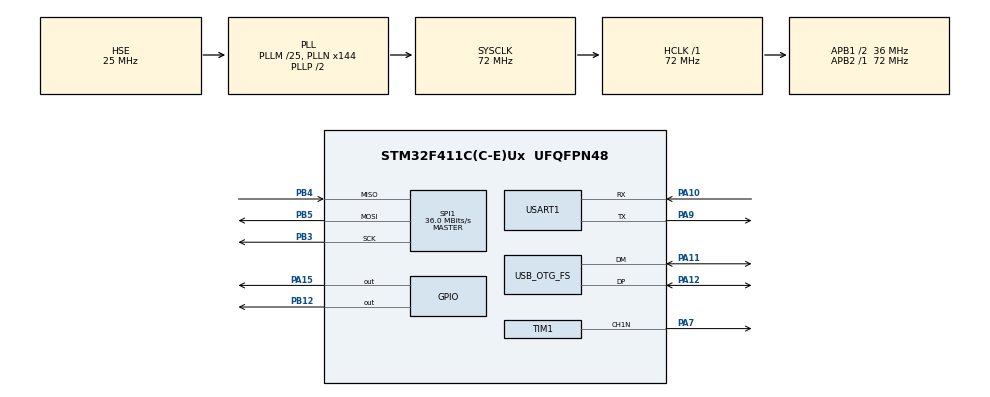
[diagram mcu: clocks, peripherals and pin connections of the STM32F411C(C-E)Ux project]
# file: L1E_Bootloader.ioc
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Dma.Request0=TIM1_CH1
Dma.TIM1_CH1.0.Direction=DMA_PERIPH_TO_MEMORY
Dma.TIM1_CH1.0.FIFOMode=DMA_FIFOMODE_DISABLE
Dma.TIM1_CH1.0.Instance=DMA2_Stream1
Dma.TIM1_CH1.0.MemDataAlignment=DMA_MDATAALIGN_HALFWORD
Dma.TIM1_CH1.0.MemInc=DMA_MINC_ENABLE
Dma.TIM1_CH1.0.Mode=DMA_CIRCULAR
Dma.TIM1_CH1.0.PeriphDataAlignment=DMA_PDATAALIGN_HALFWORD
Dma.TIM1_CH1.0.PeriphInc=DMA_PINC_DISABLE
Dma.TIM1_CH1.0.Priority=DMA_PRIORITY_HIGH
Mcu.Family=STM32F4
Mcu.Name=STM32F411C(C-E)Ux
Mcu.Package=UFQFPN48
NVIC.DMA2_Stream1_IRQn=true\:0\:0\:false\:false\:true\:false\:true\:true
NVIC.OTG_FS_IRQn=true\:0\:0\:false\:false\:true\:false\:true\:true
NVIC.PriorityGroup=NVIC_PRIORITYGROUP_4
NVIC.USART1_IRQn=true\:0\:0\:false\:false\:true\:true\:true\:true
PA10.Mode=Asynchronous
PA10.Signal=USART1_RX
PA11.Mode=Device_Only
PA11.Signal=USB_OTG_FS_DM
PA12.Mode=Device_Only
PA12.Signal=USB_OTG_FS_DP
PA15.Signal=GPIO_Output
PA7.GPIO_Speed=GPIO_SPEED_FREQ_VERY_HIGH
PA7.Mode=PWM Generation1 CH1N
PA7.Signal=TIM1_CH1N
PA9.Mode=Asynchronous
PA9.Signal=USART1_TX
PB12.GPIO_ModeDefaultOutputPP=GPIO_MODE_OUTPUT_OD
PB12.GPIO_PuPd=GPIO_NOPULL
PB12.Signal=GPIO_Output
PB3.Mode=Full_Duplex_Master
PB3.Signal=SPI1_SCK
PB4.Mode=Full_Duplex_Master
PB4.Signal=SPI1_MISO
PB5.Mode=Full_Duplex_Master
PB5.Signal=SPI1_MOSI
PC14-OSC32_IN.Mode=LSE-External-Oscillator
PC14-OSC32_IN.Signal=RCC_OSC32_IN
PC15-OSC32_OUT.Mode=LSE-External-Oscillator
PC15-OSC32_OUT.Signal=RCC_OSC32_OUT
PH0\ -\ OSC_IN.Mode=HSE-External-Oscillator
PH0\ -\ OSC_IN.Signal=RCC_OSC_IN
PH1\ -\ OSC_OUT.Mode=HSE-External-Oscillator
PH1\ -\ OSC_OUT.Signal=RCC_OSC_OUT
ProjectManager.HeapSize=0x200
ProjectManager.StackSize=0x400
ProjectManager.TargetToolchain=STM32CubeIDE
RCC.48MHZClocksFreq_Value=48000000
RCC.AHBFreq_Value=72000000
RCC.APB1CLKDivider=RCC_HCLK_DIV2
RCC.APB1Freq_Value=36000000
RCC.APB1TimFreq_Value=72000000
RCC.APB2Freq_Value=72000000
RCC.APB2TimFreq_Value=72000000
RCC.CortexFreq_Value=72000000
RCC.HCLKFreq_Value=72000000
RCC.HSE_VALUE=25000000
RCC.HSI_VALUE=16000000
RCC.PLLM=25
RCC.PLLN=144
RCC.PLLQ=3
RCC.SYSCLKFreq_VALUE=72000000
RCC.SYSCLKSource=RCC_SYSCLKSOURCE_PLLCLK
RCC.VCOOutputFreq_Value=144000000
SPI1.CalculateBaudRate=36.0 MBits/s
SPI1.Direction=SPI_DIRECTION_2LINES
SPI1.Mode=SPI_MODE_MASTER
SPI1.VirtualType=VM_MASTER
TIM1.Channel-PWM\ Generation1\ CH1N=TIM_CHANNEL_1
TIM1.Period=90-1
TIM1.Prescaler=0
USART1.VirtualMode=VM_ASYNC
USB_DEVICE.CLASS_NAME_FS=CDC
USB_DEVICE.VirtualMode=Cdc
USB_DEVICE.VirtualModeFS=Cdc_FS
USB_OTG_FS.VirtualMode=Device_Only
VP_CRC_VS_CRC.Mode=CRC_Activate
VP_USB_DEVICE_VS_USB_DEVICE_CDC_FS.Mode=CDC_FS
board=custom

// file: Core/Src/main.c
/* USER CODE BEGIN Header */
/**
  ******************************************************************************
  * @file           : main.c
  * @brief          : Main program body
  ******************************************************************************
  * @attention
  *
  * Copyright (c) 2022 STMicroelectronics.
  * All rights reserved.
  *
  * This software is licensed under terms that can be found in the LICENSE file
  * in the root directory of this software component.
  * If no LICENSE file comes with this software, it is provided AS-IS.
  *
  ******************************************************************************
  *
  * Version Header Example (32B)
  * ICTR-L1E-APP-SupV.MajV.MinV-YYWW[P/D/I]
  * ICTR-L1E-REC-MajV.MinV-YYWW[P/D/I]
  *
  *
  *
  */
/* USER CODE END Header */
#include "main.h"
#include "crc.h"
#include "dma.h"
#include "spi.h"
#include "tim.h"
#include "usart.h"
#include "usb_device.h"
#include "gpio.h"

/* USER CODE BEGIN Includes */
#include "w25rxx.h"
#include "gsm.h"
#include <stdio.h>
#include <string.h>
#include "../Config.h"
#include "../ws2812b/ws2812b.h"
/* USER CODE END Includes */

/* USER CODE BEGIN PTD */
typedef  void (*pFunction)(void);
typedef enum
{
  FACTORY_RESET_FLAG = 0,
  ACTIVATION_STATUS_FLAG,
  CERTS_UPDATE_FLAG,
  OTA_FLAG,
  RECOVERY_FLAG,
} flag_t;
typedef enum
{
  BOOTLOADER = 0,
  RECOVERY,
  APPLICATION,
} fw_type_t;
typedef enum
{
  VERSION = 0,
  SN = 32,
  IMEI = 64,
  HNAME = 96,
  MUID = 128,
  PMdl = 160,
  DMdl = 192,
  UDID = 224,
  DCfg = 256,
} udcfg_addr_t;
/*typedef enum
{
  FACTORY_RESET_EVENT = 0,
  OTA_UPD_SUC_EVENT = 1,
} event_t;*/
/* USER CODE END PTD */

/* USER CODE BEGIN PD */
#define APP_START_ADDR 0x08010000UL
#define MAGIC "ITCR-ODIN-L1E-OTA-d41d8cd98f00b204e9800998ecf842"
#define BLR_VERSION "1.0-2234D"
#define BLR_VERSION_HEADER "ICTR-L1E-BLR-" + BLR_VERSION

#define MQTT_SERVER "mqtt.iotcreative.ru"
#define MQTT_USER "dave"
#define MQTT_PSWD "lemontree"

/* NVM ADDRESSES*/

#define RECOVERY_VER_HEAD_ADDR 0x000000UL
#define RECOVERY_LEN_ADDR 0x000020UL
#define RECOVERY_CRC_ADDR 0x000024UL

#define RECOVERY_ADDR 0x000028UL
#define FLAGS_ADDR 0x070000UL
#define LOGS_ADDR 0x060000UL

/* BOOT_INFO */

#define BOOT_SEC_ADDR 0x071000UL
#define APP_VER_HEAD_ADDR 0x071000UL
#define APP_LEN_ADDR 0x071020UL
#define APP_CRC_ADDR 0x071024UL
#define MAGIC_ADDR 0x071028UL

/* USER_INFO */

#define USER_INFO_START_ADDR 0x073000UL
#define USER_INFO_END_ADDR 0x079000UL

#define ROOT_CERT_ADDR 0x07B000UL
#define CLIENT_CERT_ADDR 0x07D000UL

/* UPDATE PARTITION */

#define UPD_PARTITION_ADDR 0x080000UL
#define UPD_VER_HEAD_ADDR 0x080000UL
#define UPD_LEN_ADDR 0x080020UL
#define UPD_CRC_ADDR 0x080024UL
#define UPD_START_ADDR 0x080028UL

/*EVENT MESSAGES*/

#define FACTORY_RESET_EVENT "Factory reset"
#define OTA_UPDATE_EVENT "Updated to version: "
#define RECOVERY_EVENT "Flashed to recovery"
#define RECOVERY_SUCCESSFUL_EVENT "Recovered to version: "
#define SOS_EVENT "SOS"
#define MEMORY_ERROR_EVENT "Memory error: "
#define MODEM_ERROR_EVENT "Modem error: "
#define WRONG_CRC_EVENT "Wrong app checksum"
#define HAL_ERROR_EVENT "HAL Error: "
#define ODIN_ERROR_EVENT "ODIN Error: "

#define BOOTLOADER_DEBUG

/* USER CODE END PD */

/* USER CODE BEGIN PV */
struct UDCfg
{
  char Version [32];
  char SN [32];
  char IMEI [32];
  char UCID [32];
  char HName [32];
  char MUID [32];
  char PMdl [32];
  char DMdl [32];
  char UDID [32];
  char DCfg [32];
};
struct UDCfg dev_cfg;
/* USER CODE END PV */

void SystemClock_Config(void);
/* USER CODE BEGIN PFP */
bool ODIN_Diags(void);
bool CheckForMW(void);
bool isAppPresent(void);
void ODIN_OTA(void);
void Flash_Verify(uint32_t nvm_addr, uint32_t nvm_len_addr);
void ODIN_Recovery(void);
void ODIN_SOS(void);
void ODIN_Err(uint8_t err_num);
void WriteBootSection(uint32_t ver_head_addr, uint32_t len_addr, uint32_t crc_addr);
void GotoApp(void);
void WriteLog(char* event);
void ReadLog(void);
bool getFlag(flag_t flag);
void setFlag(flag_t flag, bool value);
void FactoryReset(void);
bool CertsUpdate(void);
void ReadUDCfg(void);
void PrintLog(void);
/* USER CODE END PFP */

int main(void)
{

  /* MCU Configuration--------------------------------------------------------*/

  /* Reset of all peripherals, Initializes the Flash interface and the Systick. */
  HAL_Init();

  /* Configure the system clock */
  SystemClock_Config();

  /* Initialize all configured peripherals */
  MX_GPIO_Init();
  MX_SPI1_Init();
  MX_USART1_UART_Init();
  MX_DMA_Init();
  MX_USB_DEVICE_Init();
  MX_TIM1_Init();
  MX_CRC_Init();
  /* USER CODE BEGIN 2 */
  HAL_Delay(1000);
  printf("Lampan Bootloader, version %s\n", BLR_VERSION);
  //ws2812b_init();
  if(!ODIN_Diags())
  {
    ODIN_Err(1);
  }
  if(getFlag(FACTORY_RESET_FLAG))
  {
    #ifdef BOOTLOADER_DEBUG
	    printf("Factory reset flag found\n");
    #endif
    FactoryReset();
  }
  if(getFlag(CERTS_UPDATE_FLAG))
  {
    #ifdef BOOTLOADER_DEBUG
	    printf("Certificate update flag found\n");
    #endif
    CertsUpdate();
  }
  if(getFlag(OTA_FLAG))
  {
    #ifdef BOOTLOADER_DEBUG
	    printf("OTA Flag found. Check for MW\n");
    #endif
    if(CheckForMW())
    {
	    ODIN_OTA();
    }
  }
  if(isAppPresent())
  {
    #ifdef BOOTLOADER_DEBUG
	    printf("Application is intact. Proceed to app...\n");
    #endif
    GotoApp();
  }
  else
  {
    #ifdef BOOTLOADER_DEBUG
	    printf("Application has been corrupted. Proceed to recovery...\n");
    #endif
	  ODIN_Recovery();
  }
  ODIN_SOS();
  /* USER CODE END 2 */

  /* Infinite loop */
  /* USER CODE BEGIN WHILE */
  while (1)
  {
    #ifdef BOOTLOADER_DEBUG
	    printf("Device is bricked. Proceed to shell...\n");
      printf("->");
    #endif
    /* USER CODE END WHILE */

  }
}

void SystemClock_Config(void)
{
  RCC_OscInitTypeDef RCC_OscInitStruct = {0};
  RCC_ClkInitTypeDef RCC_ClkInitStruct = {0};

  /** Configure the main internal regulator output voltage
  */
  __HAL_RCC_PWR_CLK_ENABLE();
  __HAL_PWR_VOLTAGESCALING_CONFIG(PWR_REGULATOR_VOLTAGE_SCALE1);

  /** Initializes the RCC Oscillators according to the specified parameters
  * in the RCC_OscInitTypeDef structure.
  */
  RCC_OscInitStruct.OscillatorType = RCC_OSCILLATORTYPE_HSE;
  RCC_OscInitStruct.HSEState = RCC_HSE_ON;
  RCC_OscInitStruct.PLL.PLLState = RCC_PLL_ON;
  RCC_OscInitStruct.PLL.PLLSource = RCC_PLLSOURCE_HSE;
  RCC_OscInitStruct.PLL.PLLM = 25;
  RCC_OscInitStruct.PLL.PLLN = 144;
  RCC_OscInitStruct.PLL.PLLP = RCC_PLLP_DIV2;
  RCC_OscInitStruct.PLL.PLLQ = 3;
  if (HAL_RCC_OscConfig(&RCC_OscInitStruct) != HAL_OK)
  {
    Error_Handler();
  }

  /** Initializes the CPU, AHB and APB buses clocks
  */
  RCC_ClkInitStruct.ClockType = RCC_CLOCKTYPE_HCLK|RCC_CLOCKTYPE_SYSCLK
                              |RCC_CLOCKTYPE_PCLK1|RCC_CLOCKTYPE_PCLK2;
  RCC_ClkInitStruct.SYSCLKSource = RCC_SYSCLKSOURCE_PLLCLK;
  RCC_ClkInitStruct.AHBCLKDivider = RCC_SYSCLK_DIV1;
  RCC_ClkInitStruct.APB1CLKDivider = RCC_HCLK_DIV2;
  RCC_ClkInitStruct.APB2CLKDivider = RCC_HCLK_DIV1;

  if (HAL_RCC_ClockConfig(&RCC_ClkInitStruct, FLASH_LATENCY_2) != HAL_OK)
  {
    Error_Handler();
  }
}

/* USER CODE BEGIN 4 */
int _write(int file, char *ptr, int len) {
    CDC_Transmit_FS((uint8_t*) ptr, len); return len;
}
/**
 * @brief ODIN_Diags() - POST function
 *
 * @return true
 * @return false
 */
bool ODIN_Diags()
{
#ifdef BOOTLOADER_DEBUG
	printf("Start POST. Memory?\n");
#endif
	//POST - Memory and Modem
	if(!W25RXX_Init())
	{
    #ifdef BOOTLOADER_DEBUG
	    printf("Error during memory initialization.");
    #endif
    char* event_error = calloc(128, sizeof(char));
    strcat(event_error, MEMORY_ERROR_EVENT);
    strcat(event_error, "Initialization");
    WriteLog(event_error);
    free(event_error);
    //return false;
	}
  #ifdef BOOTLOADER_DEBUG
	  printf("Memory passed. Modem?\n");
  #endif
	if(!gsm_init())
	{
    #ifdef BOOTLOADER_DEBUG
	    printf("Error during modem initialization.");
    #endif
    char* event_error = calloc(128, sizeof(char));
    strcat(event_error, MODEM_ERROR_EVENT);
    strcat(event_error, "Initialization");
    WriteLog(event_error);
    free(event_error);
    return false;
	}
  if(!gsm_gprs_ntpServer("time.google.com", 6))
  {
    #ifdef BOOTLOADER_DEBUG
	    printf("No connection to NTP.");
    #endif
  }
  if(!gsm_gprs_ntpSyncTime())
  {
    #ifdef BOOTLOADER_DEBUG
	    printf("Time not synchronized.");
    #endif
  }
  #ifdef BOOTLOADER_DEBUG
	  printf("Modem passed. Exit DIAGS...\n");
  #endif
  return true;
}
/**
 * @brief Checking CRC from FLASH and CRC of image from NVM
 *
 * @return true
 * @return false
 */
bool isAppPresent(void)
{
  #ifdef BOOTLOADER_DEBUG
	  printf("Application integrity check\n");
  #endif
  uint32_t file_len;
  uint32_t image_crc;
  W25RXX_ReadBytes(file_len, APP_LEN_ADDR, 4);
  W25RXX_ReadBytes(image_crc, APP_CRC_ADDR, 4);
  #ifdef BOOTLOADER_DEBUG
	  printf("Original checksum: %x\n", image_crc);
  #endif
  uint32_t calc_crc = HAL_CRC_Calculate(&hcrc, (uint32_t*) APP_START_ADDR, file_len/4); //file_len/4 because HAL_CRC_Calculate requires number of UINT32_T words
  #ifdef BOOTLOADER_DEBUG
	  printf("Calculated checksum: %x\n", calc_crc);
  #endif
  if (calc_crc == image_crc)
  {
    #ifdef BOOTLOADER_DEBUG
	    printf("Checksum is correct. Proceed...");
    #endif
    return true;
  }
	else
  {
    #ifdef BOOTLOADER_DEBUG
	    printf("Checksum is NOT correct. Proceed...");
    #endif
    WriteLog(WRONG_CRC_EVENT);
    return false;
  }
}
/**
 * @brief Check NVM for magic word
 *
 * @return true MW Found in NVM
 * @return false MW NOT found in NVM
 */
bool CheckForMW(void)
{
  #ifdef BOOTLOADER_DEBUG
	  printf("Checking NVM for Magic Word\n");
  #endif
  char MW_Check [49];
  W25RXX_ReadBytes(MW_Check, MAGIC_ADDR, 50);
  if (MW_Check == MAGIC)
  {
    #ifdef BOOTLOADER_DEBUG
	    printf("MW Found!\n");
    #endif
    return true;
  }
	else
  {
    #ifdef BOOTLOADER_DEBUG
	    printf("MW NOT found.\n");
    #endif
    return false;
  }
}
/**
 * @brief ODIN Error Handler
 *
 * @param err_num Error Number - Refer to Errors Documentation
 */
void ODIN_Err(uint8_t err_num)
{
  char* event = calloc(128, sizeof(char));
  strcat(event, ODIN_ERROR_EVENT);
  strcat(event, (char)err_num);
  WriteLog(event);
  free(event);
  //Matrix code
  int i = 0;
	while(i < 4)
  {
    i++;

  }
    #ifdef BOOTLOADER_DEBUG
      return;
    #endif
  NVIC_SystemReset();
}
/**
 * @brief Flashing RecoveryFW
 *
 */
void ODIN_Recovery(void)
{
    #ifdef BOOTLOADER_DEBUG
	    printf("Device is in recovery mode. Flash recovery FW...\n");
    #endif
    uint32_t len;
    W25RXX_ReadBytes(len, RECOVERY_LEN_ADDR, 4);
    if (len == 0)
    {
      #ifdef BOOTLOADER_DEBUG
	      printf("RecFW length is zero. RecFW info has been lost. Further flashing is not possible\n");
      #endif
      return;
    }
    Flash_Verify(RECOVERY_ADDR, RECOVERY_LEN_ADDR);
    #ifdef BOOTLOADER_DEBUG
	    printf("Recovery FW flashed. Copying App Information to Boot Section...\n");
    #endif
    WriteBootSection(RECOVERY_VER_HEAD_ADDR, RECOVERY_LEN_ADDR, RECOVERY_CRC_ADDR);
    #ifdef BOOTLOADER_DEBUG
	    printf("Setting RECOVERY_FLAG...\n");
    #endif
    setFlag(RECOVERY_FLAG, true);
    #ifdef BOOTLOADER_DEBUG
	    printf("Writing recovery event log...\n");
    #endif
    WriteLog(RECOVERY_EVENT);

    #ifdef BOOTLOADER_DEBUG
	    printf("Rebooting...\n");
    #endif
    NVIC_SystemReset();
}
/**
 * @brief Firmware Update Over-The-Air (OTA) Handler
 *
 */
void ODIN_OTA(void)
{
    #ifdef BOOTLOADER_DEBUG
	    printf("Starting OTA...\n");
    #endif
    char VerHeader [32];
    W25RXX_ReadBytes(VerHeader, UPD_VER_HEAD_ADDR, 32);
    strcat(VerHeader, '\0');
    #ifdef BOOTLOADER_DEBUG
	    printf("Flashing FW: %s\n", VerHeader);
    #endif
    Flash_Verify(UPD_START_ADDR, UPD_LEN_ADDR);
    #ifdef BOOTLOADER_DEBUG
	    printf("Flash&Verify complete. Write info to Boot Section\n");
    #endif
    WriteBootSection(UPD_VER_HEAD_ADDR, UPD_LEN_ADDR, UPD_CRC_ADDR);
    #ifdef BOOTLOADER_DEBUG
	    printf("Erasing update binary...\n");
    #endif

    uint32_t end_addr = W25RXX.CapacityInKiloByte * 1024;
    for(uint32_t idx = UPD_PARTITION_ADDR; idx <= end_addr; idx += 65536) //UPD_PARTITION_ADDR = UPD_VER_HEAD_ADDR
    {
        W25RXX_EraseBlock(idx);
    }
    #ifdef BOOTLOADER_DEBUG
	    printf("Writing log...\n");
    #endif
    if (getFlag(RECOVERY_FLAG))
    {
      setFlag(RECOVERY_FLAG, false);
      char* event = calloc(512, sizeof(char));
      strcpy(event, RECOVERY_SUCCESSFUL_EVENT);
      strcat(event, VerHeader);
      WriteLog(event);
      free(event);
    }
    else
    {
      char* event = calloc(512, sizeof(char));
      strcpy(event, OTA_UPDATE_EVENT);
      strcat(event, VerHeader);
      WriteLog(event);
    }
    #ifdef BOOTLOADER_DEBUG
	    printf("Reseting OTA_FLAG...\n");
    #endif
    setFlag(OTA_FLAG, false);
    #ifdef BOOTLOADER_DEBUG
	    printf("OTA Complete. Restart...\n");
    #endif
    NVIC_SystemReset();
}
/**
 * @brief Flash binary from NVM to FLASH MCU memory and verify correct flashing
 *
 * @param nvm_addr Starting binary address in NVM
 * @param nvm_len_addr Binary length
 */
void Flash_Verify(uint32_t nvm_addr, uint32_t nvm_len_addr)
{
    #ifdef BOOTLOADER_DEBUG
	    printf("Flashing in progress:\n");
    #endif
    uint32_t file_len;
    W25RXX_ReadBytes(file_len, nvm_len_addr, 4); //Get update file size
    uint32_t NVM_Addr = nvm_addr; //Set variable to update file start address
    HAL_FLASH_Unlock();
    /* Erasing application FLASH sectors */
    #ifdef BOOTLOADER_DEBUG
	    printf("Erasing: 0%%");
    #endif
    FLASH_Erase_Sector(FLASH_SECTOR_4, FLASH_VOLTAGE_RANGE_3);
    #ifdef BOOTLOADER_DEBUG
	    printf("\b\b25%%");
    #endif
    FLASH_Erase_Sector(FLASH_SECTOR_5, FLASH_VOLTAGE_RANGE_3);
    #ifdef BOOTLOADER_DEBUG
	    printf("\b\b\b50%%");
    #endif
    FLASH_Erase_Sector(FLASH_SECTOR_6, FLASH_VOLTAGE_RANGE_3);
    #ifdef BOOTLOADER_DEBUG
	    printf("\b\b\b75%%");
    #endif
    FLASH_Erase_Sector(FLASH_SECTOR_7, FLASH_VOLTAGE_RANGE_3);
    #ifdef BOOTLOADER_DEBUG
	    printf("\b\b\b100%%\n");
      printf("Flashing:    ");
    #endif

    for(uint32_t idx = APP_START_ADDR; idx <= APP_START_ADDR+file_len; idx += 8)
    {
      uint64_t buf;
      W25RXX_ReadBytes(buf, NVM_Addr, 8); //Read 8 bytes from NVM
      if (HAL_FLASH_Program(FLASH_TYPEPROGRAM_DOUBLEWORD, idx, buf) == HAL_OK) //Program 8 bytes of flash
      {
        #ifdef BOOTLOADER_DEBUG
          uint8_t CurrPercent = 100-((((APP_START_ADDR+file_len)-idx)*100)/file_len);
          printf("\b\b\b%d%%", CurrPercent);
        #endif
        NVM_Addr += 8;
      }
      else
      {
        char* error = calloc(128, sizeof(char));
        strcat(error, HAL_FLASH_GetError);
        WriteLog(error);
        Error_Handler(); //If HAL_!OK goto error handler
      }
    }
    #ifdef BOOTLOADER_DEBUG
	    printf("\nFlash is complete.\n");
      printf("Verifying:    ");
    #endif
    HAL_FLASH_Lock();
    for(uint32_t idx = APP_START_ADDR; idx <= APP_START_ADDR+file_len; idx += 4)
    {
      uint32_t buf;
      W25RXX_ReadBytes(buf, NVM_Addr, 4); //Read 8 bytes from NVM
      uint32_t result = *(__IO uint32_t *)idx;
      if (result == buf) //Check
      {
        #ifdef BOOTLOADER_DEBUG
          uint8_t CurrPercent = 1-((((APP_START_ADDR+file_len)-idx)*100)/file_len);
          printf("\b\b\b%d%%", CurrPercent);
        #endif
        NVM_Addr += 4;
      }
      else
      {
        ODIN_Err(6); //If flash was incorrect - goto err_handler
      }
    }
    #ifdef BOOTLOADER_DEBUG
	    printf("\nVerify complete.\n");
    #endif
}
void ODIN_SOS(void)
{
    WriteLog(SOS_EVENT);
    #ifdef BOOTLOADER_DEBUG
	    printf("Device in SOS mode. Further recovery is not longer possible. Device is bricked. Refer to documentation\n");
    #endif
    gsm_gprs_mqttConnect(MQTT_SERVER, 1884, false, dev_cfg.SN, 60, MQTT_USER, MQTT_PSWD, 60);
    char* message = calloc(256, sizeof(char));
    strcat(message, "{\"SN\":\"");
    strcat(message, dev_cfg.SN);
    strcat(message, "\"}");
    gsm_gprs_mqttPublish("$device/SOS", true, false, message);
    free(message);
    gsm_gprs_mqttDisConnect();
    #ifndef BOOTLOADER_DEBUG
      while(1)
      {
        printf("Device in SOS mode. Further recovery is not longer possible. Device is bricked. Refer to documentation\n");
        HAL_Delay(10000);
      }
    #endif

    #ifdef BOOTLOADER_DEBUG
	    return;
    #endif
    //SOS Message. Device connects to MQTT Server and send to topic $device/sos a SOS message.
}
void GotoApp(void)
{
  uint32_t jumpAddress = *(__IO uint32_t*) (APP_START_ADDR + 4);
  pFunction Jump_To_Application = (pFunction) jumpAddress;

  //Maybe change all that huynya to HAL_DeInit()?
  HAL_DeInit();
  //MX_RCC_DeInit();
  //MX_SPI1_DeInit();
  //MX_FLASH_DeInit();
  //HAL_I2C_DeInit();
  //MX_IRQ_DeInit();
  //MX_GPIO_DeInit();

  __disable_irq();
  __set_MSP(*(__IO uint32_t*) APP_START_ADDR);
  __enable_irq();

  SCB -> ICSR = 0x00000000;   // reset value;
  SCB -> SCR = 0;
  SCB -> CCR = 0x00000200;    // reset value
  SCB -> SHP[0] = 0;
  SCB -> SHCSR = 0;
  SCB -> CFSR = (SCB_CFSR_DIVBYZERO_Msk | SCB_CFSR_UNALIGNED_Msk | SCB_CFSR_UNDEFINSTR_Msk | SCB_CFSR_NOCP_Msk | SCB_CFSR_INVPC_Msk | SCB_CFSR_INVSTATE_Msk);
  SCB -> HFSR = (SCB_HFSR_DEBUGEVT_Msk | SCB_HFSR_FORCED_Msk | SCB_HFSR_VECTTBL_Msk);
  SCB -> VTOR = APP_START_ADDR;

  SysTick -> CTRL = 0;
  SysTick -> LOAD = 0;
  SysTick -> VAL  = 0;

  Jump_To_Application();
}
void WriteBootSection(uint32_t ver_head_addr, uint32_t len_addr, uint32_t crc_addr)
{
    #ifdef BOOTLOADER_DEBUG
	    printf("Copying information to boot section...\n");
      printf("Erasing boot section...\n");
    #endif
    W25RXX_EraseSector(BOOT_SEC_ADDR); //Erasing BOOT_INFO Sector
    #ifdef BOOTLOADER_DEBUG
	    printf("Copying version header...\n");
    #endif
    char app_ver_head [31];
    W25RXX_ReadBytes(app_ver_head, ver_head_addr, 32);
    W25RXX_WriteSector(app_ver_head,APP_VER_HEAD_ADDR,0,32);
    #ifdef BOOTLOADER_DEBUG
      printf("Copying application length...\n");
    #endif
    uint32_t app_len;
    W25RXX_ReadBytes(app_len, len_addr, 4);
    W25RXX_WriteSector(app_len,APP_LEN_ADDR,0,4);
    #ifdef BOOTLOADER_DEBUG
      printf("Copying checksum...\n");
    #endif
    uint32_t app_crc;
    W25RXX_ReadBytes(app_crc, crc_addr, 4);
    W25RXX_WriteSector(app_crc,APP_CRC_ADDR,0,4);
    #ifdef BOOTLOADER_DEBUG
      printf("Copying to boot section is complete.\n");
    #endif
}
bool getFlag(flag_t flag)
{
  uint8_t flag_stat;
  W25RXX_ReadByte(flag_stat, FLAGS_ADDR + flag);
  return (bool)flag_stat;
}
/**
 * @brief Creating log entry with particular event and write it to NVM.
 *
 * @param event Body of the log
 */
void WriteLog(char* event)
{
  #ifdef BOOTLOADER_DEBUG
    printf("WriteLog() callled\n");
  #endif
  char* log_string = calloc(512, sizeof(char));
  char* timestamp = calloc(512, sizeof(char));
  gsm_gprs_ntpGetTime(timestamp);
  strcat(log_string, timestamp);
  free(timestamp);
  strcat(log_string, "-BLR-");
  strcat(log_string, BLR_VERSION);
  strcat(log_string, ":");
  strcat(log_string, "\"");
  strcat(log_string, event);
  strcat(log_string, "\"\n\0");
  uint32_t last_addr;
  //#ifdef BOOTLOADER_DEBUG
    printf("LOG: %s\n", log_string);
  //#endif
  W25RXX_ReadBytes(last_addr, LOGS_ADDR, 4);
  #ifdef BOOTLOADER_DEBUG
    printf("Last log at address %x\n", last_addr);
  #endif
  uint32_t len = strlen(log_string);
  uint16_t i = 0;
  for(uint32_t idx = last_addr; idx <= idx + len; idx++)
  {
    W25RXX_WriteByte(log_string[i], idx);
    i++;
  }
  uint32_t new_addr = last_addr + len + 1;
  uint8_t buf_addr [3];
  buf_addr[3] = (uint8_t)new_addr;
  buf_addr[2] = (uint8_t)(new_addr>>8);
  buf_addr[1] = (uint8_t)(new_addr>>16);
  buf_addr[0] = (uint8_t)(new_addr>>24);
  uint16_t k = 0;
  for(uint32_t idx = LOGS_ADDR; idx <= idx + 4; idx++)
  {
    W25RXX_WriteByte(buf_addr[i], idx);
    k++;
  }
  #ifdef BOOTLOADER_DEBUG
    printf("New last log address at %x\n", new_addr);
  #endif
  free(log_string);
}
/**
 * @brief Function, which get certificates from NVM addresses in #define, write them to modem FS and install them.
 *
 * @return true - successful certs install
 * @return false - unsuccessful certs install (catching only modem FS and cert-install errors)
 */
bool CertsUpdate(void)
{
  #ifdef BOOTLOADER_DEBUG
    printf("Starting certificates update. Allocating memory for buffer...\n");
  #endif
  char* cert = calloc(2048, sizeof(char));
  #ifdef BOOTLOADER_DEBUG
    printf("Memory allocation successful. Reading root certificate:\n");
  #endif
  uint32_t idx = ROOT_CERT_ADDR;
  bool file_read = false;
  while(!file_read)
  {
    char buf;
    W25RXX_ReadByte(buf, idx);
    if(buf == '\0')
    {
      file_read = true;
      break;
    }
    #ifdef BOOTLOADER_DEBUG
      printf(buf);
    #endif
    strcat(cert, buf);
    idx++;
  }
  #ifdef BOOTLOADER_DEBUG
    printf("Root certificate has been read. Creating certificate file in modem FS...\n");
  #endif
  if(!gsm_fs_create("root_cert.crt"))
  {
    #ifdef BOOTLOADER_DEBUG
      printf("File creation was failed. Exit certificate update...\n");
    #endif
    return false;
  }
  #ifdef BOOTLOADER_DEBUG
    printf("Certificate file was successfully created. Writing certificate file in modem FS...\n");
  #endif
  if(!gsm_fs_write("root_cert.crt", false, cert))
  {
    #ifdef BOOTLOADER_DEBUG
      printf("File writing was failed. Exit certificate update...\n");
    #endif
    return false;
  }
  #ifdef BOOTLOADER_DEBUG
    printf("Certificate file was successfully written. Erasing buffer and reading client certificate:\n");
  #endif
  memset(cert, '\0', 2048);
  idx = CLIENT_CERT_ADDR;
  file_read = false;
  while(!file_read)
  {
    char buf;
    W25RXX_ReadByte(buf, idx);
    if(buf == '\0')
    {
      file_read = true;
      break;
    }
    #ifdef BOOTLOADER_DEBUG
      printf(buf);
    #endif
    strcat(cert, buf);
    idx++;
  }
  #ifdef BOOTLOADER_DEBUG
    printf("Client certificate has been read. Creating certificate file in modem FS...\n");
  #endif
  if(!gsm_fs_create("client_cert.crt"))
  {
    #ifdef BOOTLOADER_DEBUG
      printf("File creation was failed. Exit certificate update...\n");
    #endif
    return false;
  }
  #ifdef BOOTLOADER_DEBUG
    printf("Certificate file was successfully created. Writing certificate file in modem FS...\n");
  #endif
  if(!gsm_fs_write("client_cert.crt", false, cert))
  {
    #ifdef BOOTLOADER_DEBUG
      printf("File writing was failed. Exit certificate update...\n");
    #endif
    return false;
  }
  free(cert);
  #ifdef BOOTLOADER_DEBUG
    printf("Certificate file was successfully written. Installing certificates to modem...\n");
  #endif
  if(!gsm_gprs_certs("root_cert.crt", "client_cert.crt"))
  {
    #ifdef BOOTLOADER_DEBUG
      printf("Certificates install was failed. Exit certificate update...\n");
    #endif
    return false;
  }
  #ifdef BOOTLOADER_DEBUG
    printf("Certificates was successfully installed. Erasing certs in NVM...\n");
  #endif
  W25RXX_EraseSector(ROOT_CERT_ADDR);
  W25RXX_EraseSector(ROOT_CERT_ADDR + 4096);
  W25RXX_EraseSector(CLIENT_CERT_ADDR);
  W25RXX_EraseSector(CLIENT_CERT_ADDR + 4096);
  #ifdef BOOTLOADER_DEBUG
    printf("Resetting CERTS_UPDATE_FLAG...\n");
  #endif
  setFlag(CERTS_UPDATE_FLAG, false);
  #ifdef BOOTLOADER_DEBUG
    printf("Certificates update was successful.\n");
  #endif
  return true;
}
/**
 * @brief Perform factory by erasing sectors and reset FACTORY_RESET_FLAG
 *
 * @retval None
 */
void FactoryReset(void)
{
  #ifdef BOOTLOADER_DEBUG
    printf("Start factory reset...\n");
  #endif
  for(uint32_t idx = USER_INFO_START_ADDR; idx <= USER_INFO_END_ADDR; idx += 4096)
  {
    W25RXX_EraseSector(idx);
  }
  #ifdef BOOTLOADER_DEBUG
    printf("Writing log...\n");
  #endif
  WriteLog(FACTORY_RESET_EVENT);
  #ifdef BOOTLOADER_DEBUG
    printf("Resetting FACTORY_RESET_FLAG...\n");
  #endif
  setFlag(FACTORY_RESET_FLAG, false);
  #ifdef BOOTLOADER_DEBUG
    printf("Factory reset done.\n");
  #endif
}
/**
 * @brief Print log from NVM
 *
 */
void PrintLog(void)
{
  #ifdef BOOTLOADER_DEBUG
    printf("Starting printing log...\n");
  #endif
  uint32_t last_addr;
  W25RXX_ReadBytes(last_addr, last_addr, 4);
  #ifdef BOOTLOADER_DEBUG
    printf("Log end adress: %x\n", last_addr);
  #endif
  for(uint32_t idx = LOGS_ADDR + 4; idx <= last_addr; idx += 1)
  {
    char buf;
    W25RXX_ReadByte(buf, idx);
    printf(buf);
  }
}
/**
 * @brief Set flag in NVM. Refer to flags decription.
 *
 * @param flag Flag name
 * @param value
 */
void setFlag(flag_t flag, bool value)
{
  #ifdef BOOTLOADER_DEBUG
    printf("Setting flag at address %x...", FLAGS_ADDR + flag);
  #endif
  W25RXX_WriteSector((uint8_t)value, FLAGS_ADDR + flag, 0, 1);
  #ifdef BOOTLOADER_DEBUG
    printf("Set value %d", value);
  #endif
}
/**
 * @brief Reading UDCfg from OTP Memory (incl. UCID)
 *
 * @retval None
 */
void ReadUDCfg(void)
{
  #ifdef BOOTLOADER_DEBUG
    printf("Reading UDCfg...");
  #endif
  for(uint32_t idx = FLASH_OTP_BASE; idx < FLASH_OTP_BASE + VERSION; idx += 4)
  {
    uint8_t buf = *(__IO uint8_t *)idx;
    strcat(dev_cfg.Version, (char*)buf);
  }
  strcat(dev_cfg.Version, '\0');
  #ifdef BOOTLOADER_DEBUG
    printf("UDCfg version %s...", dev_cfg.Version);
  #endif
  for(uint32_t idx = FLASH_OTP_BASE + VERSION; idx < FLASH_OTP_BASE + SN; idx += 4)
  {
    uint8_t buf = *(__IO uint8_t *)idx;
    strcat(dev_cfg.SN, (char*)buf);
  }
  strcat(dev_cfg.SN, '\0');
  #ifdef BOOTLOADER_DEBUG
    printf("Serial Number is %s...", dev_cfg.SN);
  #endif
  for(uint32_t idx = FLASH_OTP_BASE + SN; idx < FLASH_OTP_BASE + IMEI; idx += 4)
  {
    uint8_t buf = *(__IO uint8_t *)idx;
    strcat(dev_cfg.IMEI, (char*)buf);
  }
  strcat(dev_cfg.IMEI, '\0');
  #ifdef BOOTLOADER_DEBUG
    printf("IMEI is %s...", dev_cfg.IMEI);
  #endif
  for(uint32_t idx = UID_BASE; idx < UID_BASE + 12; idx+=4)
  {
    uint32_t buf;
    buf = *(__IO uint32_t *)idx;
    strcat(dev_cfg.UCID, buf);
  }
  #ifdef BOOTLOADER_DEBUG
    printf("UCID is %s...", dev_cfg.UCID);
  #endif
  for(uint32_t idx = FLASH_OTP_BASE + IMEI; idx < FLASH_OTP_BASE + HNAME; idx += 4)
  {
    uint8_t buf = *(__IO uint8_t *)idx;
    strcat(dev_cfg.HName, (char*)buf);
  }
  strcat(dev_cfg.HName, '\0');
  #ifdef BOOTLOADER_DEBUG
    printf("Hname is %s...", dev_cfg.HName);
  #endif
  for(uint32_t idx = FLASH_OTP_BASE + HNAME; idx < FLASH_OTP_BASE + MUID; idx += 4)
  {
    uint8_t buf = *(__IO uint8_t *)idx;
    strcat(dev_cfg.MUID, (char*)buf);
  }
  strcat(dev_cfg.MUID, '\0');
  #ifdef BOOTLOADER_DEBUG
    printf("MUID is %s...", dev_cfg.MUID);
  #endif
  for(uint32_t idx = FLASH_OTP_BASE + MUID; idx < FLASH_OTP_BASE + PMdl; idx += 4)
  {
    uint8_t buf = *(__IO uint8_t *)idx;
    strcat(dev_cfg.PMdl, (char*)buf);
  }
  strcat(dev_cfg.MUID, '\0');
  #ifdef BOOTLOADER_DEBUG
    printf("PMdl is %s...", dev_cfg.PMdl);
  #endif
  for(uint32_t idx = FLASH_OTP_BASE + PMdl; idx < FLASH_OTP_BASE + DMdl; idx += 4)
  {
    uint8_t buf = *(__IO uint8_t *)idx;
    strcat(dev_cfg.DMdl, (char*)buf);
  }
  strcat(dev_cfg.PMdl, '\0');
  #ifdef BOOTLOADER_DEBUG
    printf("DMdl is %s...", dev_cfg.DMdl);
  #endif
  for(uint32_t idx = FLASH_OTP_BASE + DMdl; idx < FLASH_OTP_BASE + UDID; idx += 4)
  {
    uint8_t buf = *(__IO uint8_t *)idx;
    strcat(dev_cfg.UDID, (char*)buf);
  }
  strcat(dev_cfg.DMdl, '\0');
  #ifdef BOOTLOADER_DEBUG
    printf("UDID is %s...", dev_cfg.UDID);
  #endif
  for(uint32_t idx = FLASH_OTP_BASE + UDID; idx < FLASH_OTP_BASE + DCfg; idx += 4)
  {
    uint8_t buf = *(__IO uint8_t *)idx;
    strcat(dev_cfg.DCfg, (char*)buf);
  }
  strcat(dev_cfg.DCfg, '\0');
  #ifdef BOOTLOADER_DEBUG
    printf("DCfg is %s...", dev_cfg.DCfg);
  #endif
}
/* USER CODE END 4 */

void Error_Handler(void)
{
  /* USER CODE BEGIN Error_Handler_Debug */
  /* User can add his own implementation to report the HAL error return state */
  __disable_irq();
  ODIN_Err(1);
  while (1)
  {
  }
  /* USER CODE END Error_Handler_Debug */
}
